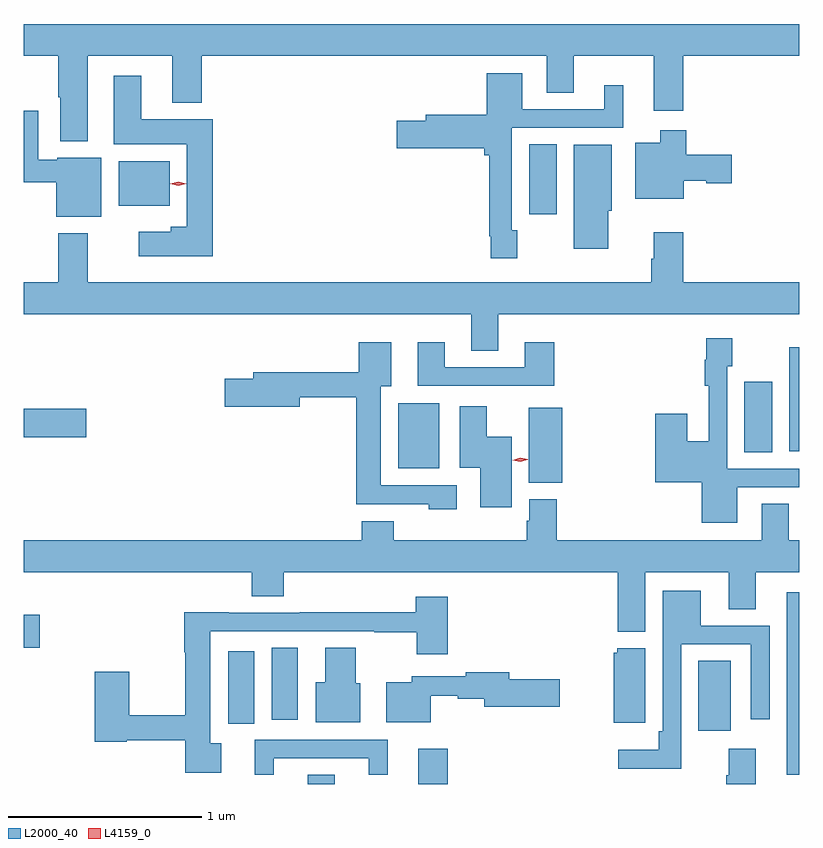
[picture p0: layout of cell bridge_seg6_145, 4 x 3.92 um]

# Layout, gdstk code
import gdstk
lib = gdstk.Library(unit=1e-6, precision=1e-09)
def R(c, l, rs):  # rectangles x0, y0, x1, y1
    for r in rs: c.add(gdstk.rectangle(r[:2], r[2:], *l))
def P(c, l, *ps):  # polygons
    for p in ps: c.add(gdstk.Polygon(p, *l))
L2000_40 = (2000, 40)
L4159_0 = (4159, 0)

bridge_seg6_145 = lib.new_cell('bridge_seg6_145')
R(bridge_seg6_145, L2000_40, [(604.658,952.904,604.798,952.952), (605.228,952.904,605.381,953.086), (607.13,952.953,607.194,953.893), (606.674,953.178,606.841,953.54), (604.25,953.214,604.384,953.59), (604.472,953.235,604.606,953.606), (603.194,953.606,603.277,953.776), (605.798,954.458,605.971,954.844), (605.126,954.533,605.338,954.868), (606.911,954.616,607.054,954.979), (607.142,954.62,607.194,955.156), (603.194,954.692,603.517,954.839), (605.801,955.842,605.944,956.204), (603.683,955.886,603.946,956.116)])
P(bridge_seg6_145, L2000_40, [(603.523,956.66),(603.959,956.66),(603.959,956.417),(604.112,956.417),(604.112,956.66),(605.891,956.66),(605.891,956.47),(606.031,956.47),(606.031,956.66),(606.443,956.66),(606.443,956.376),(606.596,956.376),(606.596,956.66),(607.194,956.66),(607.194,956.824),(603.194,956.824),(603.194,956.66),(603.371,956.66),(603.371,956.445),(603.383,956.445),(603.383,956.219),(603.523,956.219)],
  [(605.739,955.761),(605.712,955.761),(605.712,956.289),(606.286,956.289),(606.286,956.509),(606.188,956.509),(606.188,956.385),(605.764,956.385),(605.764,956.569),(605.582,956.569),(605.582,956.355),(605.267,956.355),(605.267,956.325),(605.118,956.325),(605.118,956.183),(605.57,956.183),(605.57,956.147),(605.596,956.147),(605.596,955.729),(605.604,955.729),(605.604,955.617),(605.739,955.617)],
  [(604.169,956.332),(603.799,956.332),(603.799,956.557),(603.659,956.557),(603.659,956.204),(604.034,956.204),(604.034,955.777),(603.951,955.777),(603.951,955.753),(603.786,955.753),(603.786,955.625),(604.169,955.625)],
  [(603.595,956.134),(603.366,956.134),(603.366,956.124),(603.268,956.124),(603.268,956.377),(603.194,956.377),(603.194,956.008),(603.362,956.008),(603.362,955.829),(603.595,955.829)],
  [(606.598,956.015),(606.714,956.015),(606.714,956.003),(606.847,956.003),(606.847,956.15),(606.611,956.15),(606.611,956.275),(606.476,956.275),(606.476,956.212),(606.347,956.212),(606.347,955.922),(606.598,955.922)],
  [(606.208,955.86),(606.226,955.86),(606.226,956.2),(606.032,956.2),(606.032,955.664),(606.208,955.664)],
  [(605.641,955.328),(607.194,955.328),(607.194,955.492),(606.596,955.492),(606.596,955.75),(606.443,955.75),(606.443,955.613),(606.431,955.613),(606.431,955.492),(603.523,955.492),(603.523,955.744),(603.371,955.744),(603.371,955.492),(603.194,955.492),(603.194,955.328),(605.501,955.328),(605.501,955.138),(605.641,955.138)],
  [(606.874,954.435),(607.194,954.435),(607.194,954.531),(606.822,954.531),(606.822,955.059),(606.849,955.059),(606.849,955.204),(606.714,955.204),(606.714,955.091),(606.706,955.091),(606.706,954.959),(606.726,954.959),(606.726,954.673),(606.616,954.673),(606.616,954.814),(606.451,954.814),(606.451,954.461),(606.692,954.461),(606.692,954.251),(606.874,954.251)],
  [(605.93,955.183),(605.777,955.183),(605.777,955.053),(605.365,955.053),(605.365,955.183),(605.225,955.183),(605.225,954.957),(605.93,954.957)],
  [(605.428,954.444),(605.035,954.444),(605.035,954.956),(605.089,954.956),(605.089,955.183),(604.922,955.183),(604.922,955.027),(604.379,955.027),(604.379,954.993),(604.23,954.993),(604.23,954.851),(604.618,954.851),(604.618,954.898),(604.91,954.898),(604.91,954.348),(605.283,954.348),(605.283,954.32),(605.428,954.32)],
  [(605.71,954.694),(605.581,954.694),(605.581,954.853),(605.444,954.853),(605.444,954.536),(605.549,954.536),(605.549,954.332),(605.71,954.332)],
  [(606.4,953.996),(606.83,953.996),(606.83,953.806),(606.97,953.806),(606.97,953.996),(607.194,953.996),(607.194,954.16),(607.141,954.16),(607.141,954.35),(607.001,954.35),(607.001,954.16),(605.942,954.16),(605.942,954.373),(605.801,954.373),(605.801,954.261),(605.789,954.261),(605.789,954.16),(605.102,954.16),(605.102,954.259),(604.937,954.259),(604.937,954.16),(603.194,954.16),(603.194,953.996),(604.37,953.996),(604.37,953.872),(604.535,953.872),(604.535,953.996),(606.257,953.996),(606.257,953.69),(606.4,953.69)],
  [(606.585,953.625),(606.945,953.625),(606.945,953.238),(607.041,953.238),(607.041,953.721),(606.685,953.721),(606.685,953.902),(606.489,953.902),(606.489,953.176),(606.469,953.176),(606.469,953.08),(606.261,953.08),(606.261,952.982),(606.585,952.982)],
  [(604.213,953.114),(604.156,953.114),(604.156,953.691),(605.002,953.691),(605.002,953.686),(605.221,953.686),(605.221,953.574),(605.381,953.574),(605.381,953.869),(605.216,953.869),(605.216,953.789),(604.618,953.789),(604.618,953.787),(604.252,953.787),(604.252,953.789),(604.022,953.789),(604.022,953.584),(604.027,953.584),(604.027,953.258),(603.738,953.258),(603.738,953.482),(603.56,953.482),(603.56,953.122),(603.726,953.122),(603.726,953.13),(604.027,953.13),(604.027,952.961),(604.213,952.961)],
  [(604.93,953.424),(604.906,953.424),(604.906,953.606),(604.748,953.606),(604.748,953.428),(604.7,953.428),(604.7,953.222),(604.93,953.222)],
  [(606.4,953.605),(606.255,953.605),(606.255,953.58),(606.236,953.58),(606.236,953.219),(606.4,953.219)],
  [(605.292,953.359),(605.432,953.359),(605.432,953.344),(605.57,953.344),(605.57,953.302),(605.959,953.302),(605.959,953.444),(605.698,953.444),(605.698,953.48),(605.474,953.48),(605.474,953.46),(605.196,953.46),(605.196,953.428),(605.063,953.428),(605.063,953.222),(605.292,953.222)],
  [(604.483,953.037),(604.973,953.037),(604.973,952.953),(605.071,952.953),(605.071,953.133),(604.385,953.133),(604.385,952.953),(604.483,952.953)],
  [(606.97,953.086),(606.83,953.086),(606.83,952.949),(606.818,952.949),(606.818,952.904),(606.97,952.904)])
P(bridge_seg6_145, L4159_0, [(605.755,954.566),(605.715,954.575),(605.715,954.575),(605.715,954.575),(605.754,954.586),(605.794,954.578),(605.794,954.577),(605.794,954.577)],
  [(603.991,955.99),(603.95,956),(603.95,956),(603.95,956),(603.991,956.01),(604.031,956.001),(604.032,956.001),(604.031,956)])

lib.write_gds('bridge_seg6_145.gds')
